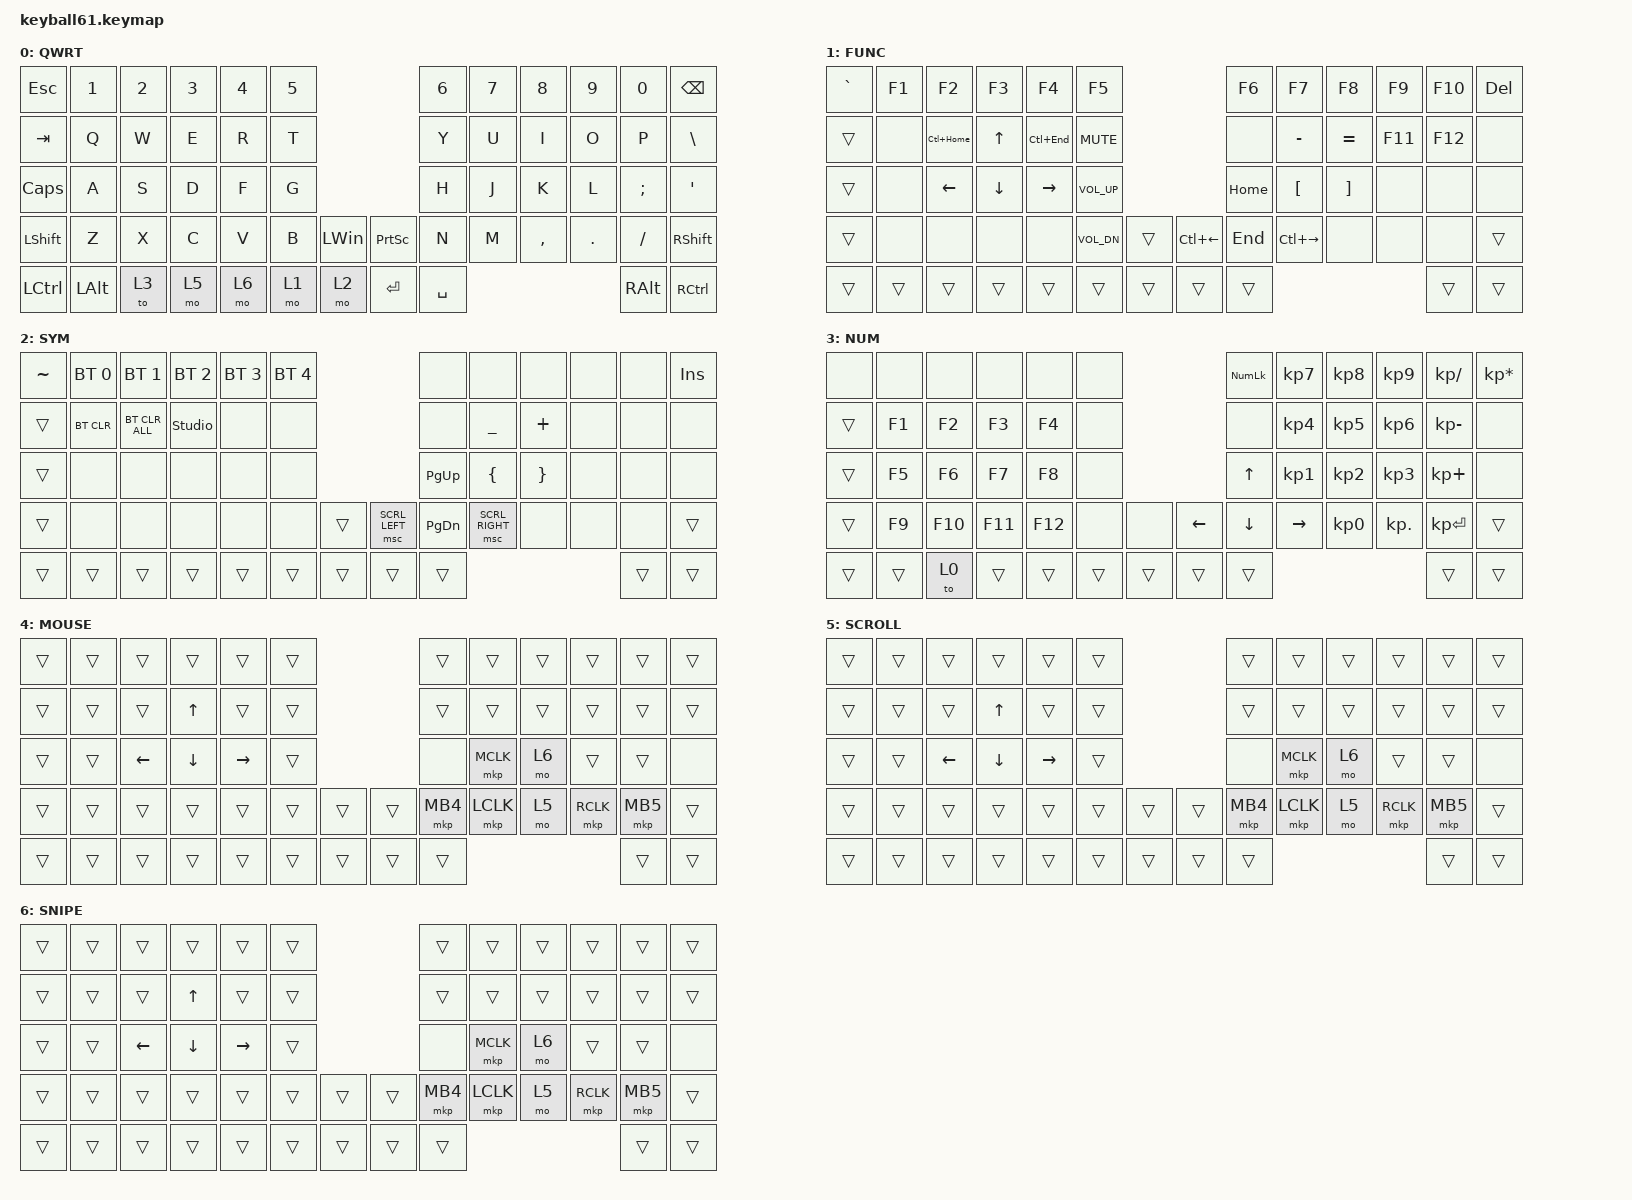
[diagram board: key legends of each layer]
#define DEFAULT 0
#define SYM     1
#define FUN     2
#define MOUSE   3
#define SCROLL  4
#define SNIPE   5

#include <behaviors/mouse_keys.dtsi>
#include <dt-bindings/zmk/mouse.h>
#include <behaviors.dtsi>
#include <dt-bindings/zmk/bt.h>
#include <dt-bindings/zmk/keys.h>
#include <dt-bindings/zmk/pointing.h>

&nice_view_spi { cs-gpios = <&pro_micro 1 GPIO_ACTIVE_HIGH>; };

&lt {
    tapping-term-ms = <240>;
    flavor = "balanced";
    quick-tap-ms = <150>;
};

&mt {
    tapping-term-ms = <200>;
    flavor = "tap-preferred";
    quick-tap-ms = <150>;
};

/ {
    keymap {
        compatible = "zmk,keymap";

        default_layer {
            label = "QWRT";
            bindings = <
&kp ESC         &kp N1    &kp N2  &kp N3  &kp N4  &kp N5                             &kp N6     &kp N7  &kp N8     &kp N9   &kp N0         &kp BSPC
&kp TAB         &kp Q     &kp W   &kp E   &kp R   &kp T                              &kp Y      &kp U   &kp I      &kp O    &kp P          &kp BACKSLASH
&kp CAPS        &kp A     &kp S   &kp D   &kp F   &kp G                              &kp H      &kp J   &kp K      &kp L    &kp SEMI       &kp SQT
&kp LEFT_SHIFT  &kp Z     &kp X   &kp C   &kp V   &kp B   &kp LWIN  &kp PRINTSCREEN  &kp N      &kp M   &kp COMMA  &kp DOT  &kp FSLH       &kp RIGHT_SHIFT
&kp LCTRL       &kp LALT  &to 3   &mo 5   &mo 6   &mo 1   &mo 2     &kp ENTER        &kp SPACE                              &kp RIGHT_ALT  &kp RCTRL
            >;
        };

        function_layer {
            bindings = <
&kp GRAVE  &kp F1  &kp F2        &kp F3    &kp F4       &kp F5                              &kp F6    &kp F7         &kp F8     &kp F9   &kp F10  &kp DEL
&trans     &none   &kp LC(HOME)  &kp UP    &kp LC(END)  &kp K_MUTE                          &none     &kp MINUS      &kp EQUAL  &kp F11  &kp F12  &none
&trans     &none   &kp LEFT      &kp DOWN  &kp RIGHT    &kp C_VOL_UP                        &kp HOME  &kp LBKT       &kp RBKT   &none    &none    &none
&trans     &none   &none         &none     &none        &kp C_VOL_DN  &trans  &kp LC(LEFT)  &kp END   &kp LC(RIGHT)  &none      &none    &none    &trans
&trans     &trans  &trans        &trans    &trans       &trans        &trans  &trans        &trans                                       &trans   &trans
            >;

            label = "FUNC";
        };

        symbol_layer {
            label = "SYM";
            bindings = <
&kp TILDE  &bt BT_SEL 0  &bt BT_SEL 1    &bt BT_SEL 2    &bt BT_SEL 3  &bt BT_SEL 4                          &none      &none            &none     &none  &none   &kp INS
&trans     &bt BT_CLR    &bt BT_CLR_ALL  &studio_unlock  &none         &none                                 &none      &kp UNDER        &kp PLUS  &none  &none   &none
&trans     &none         &none           &none           &none         &none                                 &kp PG_UP  &kp LBRC         &kp RBRC  &none  &none   &none
&trans     &none         &none           &none           &none         &none         &trans  &msc SCRL_LEFT  &kp PG_DN  &msc SCRL_RIGHT  &none     &none  &none   &trans
&trans     &trans        &trans          &trans          &trans        &trans        &trans  &trans          &trans                                       &trans  &trans
            >;
        };

        numpad_layer {
            label = "NUM";
            bindings = <
&none   &none   &none    &none    &none    &none                     &kp KP_NUM  &kp KP_N7  &kp KP_N8  &kp KP_N9   &kp KP_DIVIDE    &kp KP_ASTERISK
&trans  &kp F1  &kp F2   &kp F3   &kp F4   &none                     &none       &kp KP_N4  &kp KP_N5  &kp KP_N6   &kp KP_SUBTRACT  &none
&trans  &kp F5  &kp F6   &kp F7   &kp F8   &none                     &kp UP      &kp KP_N1  &kp KP_N2  &kp KP_N3   &kp KP_PLUS      &none
&trans  &kp F9  &kp F10  &kp F11  &kp F12  &none   &none   &kp LEFT  &kp DOWN    &kp RIGHT  &kp KP_N0  &kp KP_DOT  &kp KP_ENTER     &trans
&trans  &trans  &to 0    &trans   &trans   &trans  &trans  &trans    &trans                                        &trans           &trans
            >;
        };

        mouse_layer {
            label = "MOUSE";
            bindings = <
&trans  &trans  &trans    &trans    &trans     &trans                  &trans    &trans     &trans  &trans     &trans    &trans
&trans  &trans  &trans    &kp UP    &trans     &trans                  &trans    &trans     &trans  &trans     &trans    &trans
&trans  &trans  &kp LEFT  &kp DOWN  &kp RIGHT  &trans                  &none     &mkp MCLK  &mo 6   &trans     &trans    &none
&trans  &trans  &trans    &trans    &trans     &trans  &trans  &trans  &mkp MB4  &mkp LCLK  &mo 5   &mkp RCLK  &mkp MB5  &trans
&trans  &trans  &trans    &trans    &trans     &trans  &trans  &trans  &trans                                  &trans    &trans
            >;
        };

        scroll_layer {
            label = "SCROLL";
            bindings = <
&trans  &trans  &trans    &trans    &trans     &trans                  &trans    &trans     &trans  &trans     &trans    &trans
&trans  &trans  &trans    &kp UP    &trans     &trans                  &trans    &trans     &trans  &trans     &trans    &trans
&trans  &trans  &kp LEFT  &kp DOWN  &kp RIGHT  &trans                  &none     &mkp MCLK  &mo 6   &trans     &trans    &none
&trans  &trans  &trans    &trans    &trans     &trans  &trans  &trans  &mkp MB4  &mkp LCLK  &mo 5   &mkp RCLK  &mkp MB5  &trans
&trans  &trans  &trans    &trans    &trans     &trans  &trans  &trans  &trans                                  &trans    &trans
            >;
        };

        snipe_layer {
            label = "SNIPE";
            bindings = <
&trans  &trans  &trans    &trans        &trans     &trans                  &trans    &trans     &trans  &trans     &trans    &trans
&trans  &trans  &trans    &kp UP_ARROW  &trans     &trans                  &trans    &trans     &trans  &trans     &trans    &trans
&trans  &trans  &kp LEFT  &kp DOWN      &kp RIGHT  &trans                  &none     &mkp MCLK  &mo 6   &trans     &trans    &none
&trans  &trans  &trans    &trans        &trans     &trans  &trans  &trans  &mkp MB4  &mkp LCLK  &mo 5   &mkp RCLK  &mkp MB5  &trans
&trans  &trans  &trans    &trans        &trans     &trans  &trans  &trans  &trans                                  &trans    &trans
            >;
        };
    };
};
